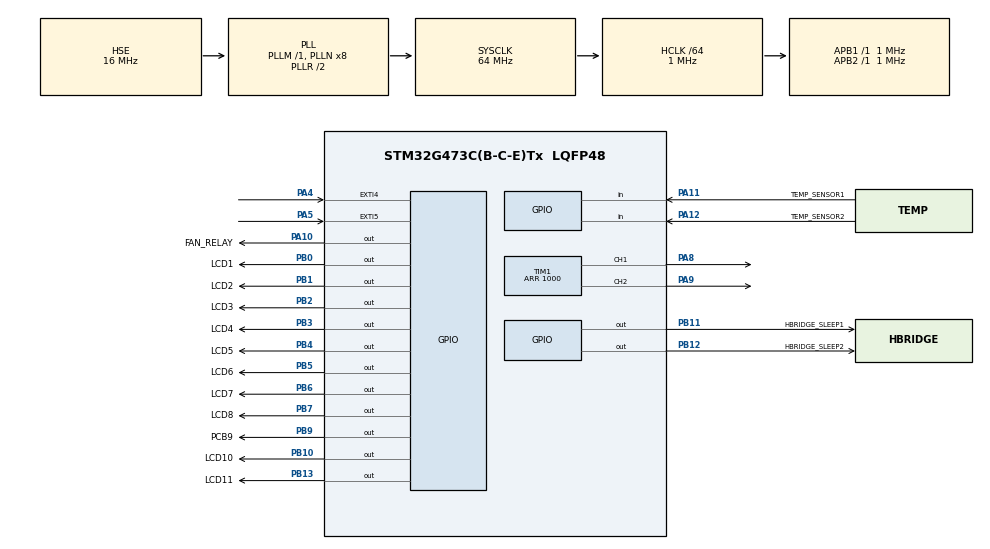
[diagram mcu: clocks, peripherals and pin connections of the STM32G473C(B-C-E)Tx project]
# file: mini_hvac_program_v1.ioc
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Mcu.Family=STM32G4
Mcu.Name=STM32G473C(B-C-E)Tx
Mcu.Package=LQFP48
NVIC.EXTI4_IRQn=true\:0\:0\:false\:false\:true\:true\:true\:true
NVIC.EXTI9_5_IRQn=true\:0\:0\:false\:false\:true\:true\:true\:true
NVIC.PriorityGroup=NVIC_PRIORITYGROUP_4
PA10.GPIO_Label=FAN_RELAY
PA10.Signal=GPIO_Output
PA11.GPIO_Label=TEMP_SENSOR1
PA11.Signal=GPIO_Input
PA12.GPIO_Label=TEMP_SENSOR2
PA12.Signal=GPIO_Input
PA13.Mode=Serial_Wire
PA13.Signal=SYS_JTMS-SWDIO
PA14.Mode=Serial_Wire
PA14.Signal=SYS_JTCK-SWCLK
PA4.GPIO_ModeDefaultEXTI=GPIO_MODE_IT_FALLING
PA4.Signal=GPXTI4
PA5.GPIO_ModeDefaultEXTI=GPIO_MODE_IT_FALLING
PA5.Signal=GPXTI5
PA8.Signal=S_TIM1_CH1
PA9.Signal=S_TIM1_CH2
PB0.GPIO_Label=LCD1
PB0.Signal=GPIO_Output
PB1.GPIO_Label=LCD2
PB1.Signal=GPIO_Output
PB10.GPIO_Label=LCD10
PB10.Signal=GPIO_Output
PB11.GPIO_Label=HBRIDGE_SLEEP1
PB11.Signal=GPIO_Output
PB12.GPIO_Label=HBRIDGE_SLEEP2
PB12.Signal=GPIO_Output
PB13.GPIO_Label=LCD11
PB13.Signal=GPIO_Output
PB2.GPIO_Label=LCD3
PB2.Signal=GPIO_Output
PB3.GPIO_Label=LCD4
PB3.Signal=GPIO_Output
PB4.GPIO_Label=LCD5
PB4.Signal=GPIO_Output
PB5.GPIO_Label=LCD6
PB5.Signal=GPIO_Output
PB6.GPIO_Label=LCD7
PB6.Signal=GPIO_Output
PB7.GPIO_Label=LCD8
PB7.Signal=GPIO_Output
PB9.GPIO_Label=PCB9
PB9.Signal=GPIO_Output
PF0-OSC_IN.Mode=HSE-External-Oscillator
PF0-OSC_IN.Signal=RCC_OSC_IN
PF1-OSC_OUT.Mode=HSE-External-Oscillator
PF1-OSC_OUT.Signal=RCC_OSC_OUT
ProjectManager.HeapSize=0x200
ProjectManager.StackSize=0x400
ProjectManager.TargetToolchain=STM32CubeIDE
RCC.ADC12Freq_Value=64000000
RCC.ADC345Freq_Value=64000000
RCC.AHBCLKDivider=RCC_SYSCLK_DIV64
RCC.AHBFreq_Value=1000000
RCC.APB1Freq_Value=1000000
RCC.APB1TimFreq_Value=1000000
RCC.APB2Freq_Value=1000000
RCC.APB2TimFreq_Value=1000000
RCC.CortexFreq_Value=1000000
RCC.EXTERNAL_CLOCK_VALUE=12288000
RCC.HCLKFreq_Value=1000000
RCC.HSE_VALUE=16000000
RCC.HSI48_VALUE=48000000
RCC.HSI_VALUE=16000000
RCC.LSE_VALUE=32768
RCC.PLLSourceVirtual=RCC_PLLSOURCE_HSE
RCC.SYSCLKFreq_VALUE=64000000
RCC.SYSCLKSource=RCC_SYSCLKSOURCE_PLLCLK
RCC.USBFreq_Value=64000000
RCC.VCOOutputFreq_Value=128000000
SH.S_TIM1_CH1.0=TIM1_CH1,PWM Generation1 CH1
SH.S_TIM1_CH2.0=TIM1_CH2,PWM Generation2 CH2
TIM1.Channel-PWM\ Generation1\ CH1=TIM_CHANNEL_1
TIM1.Channel-PWM\ Generation2\ CH2=TIM_CHANNEL_2
TIM1.PeriodNoDither=1000
VP_SYS_VS_DBSignals.Mode=DisableDeadBatterySignals
VP_TIM1_VS_ClockSourceINT.Mode=Internal
board=custom

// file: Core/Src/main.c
/* USER CODE BEGIN Header */
/**
  ******************************************************************************
  * @file           : main.c
  * @brief          : Main program body
  ******************************************************************************
  * @attention
  *
  * Copyright (c) 2024 STMicroelectronics.
  * All rights reserved.
  *
  * This software is licensed under terms that can be found in the LICENSE file
  * in the root directory of this software component.
  * If no LICENSE file comes with this software, it is provided AS-IS.
  *
  ******************************************************************************
  */
/* USER CODE END Header */
#include "main.h"

TIM_HandleTypeDef htim1;

void SystemClock_Config(void);
static void MX_GPIO_Init(void);
static void MX_TIM1_Init(void);
/* USER CODE BEGIN PFP */

void One_Wire_Init(void);
void DS18B20_Read_Temperature(int* temp);
void hbridge_colder(void);
void hbridge_hotter(void);
void display_on_LCD(int desired, int real);
/* USER CODE END PFP */

int main(void)
{

  /* USER CODE BEGIN 1 */
	int desired_temp = 20;
	int real_temp = 0;
  /* USER CODE END 1 */

  /* MCU Configuration--------------------------------------------------------*/

  /* Reset of all peripherals, Initializes the Flash interface and the Systick. */
  HAL_Init();

  /* Configure the system clock */
  SystemClock_Config();

  /* Initialize all configured peripherals */
  MX_GPIO_Init();
  MX_TIM1_Init();
  /* USER CODE BEGIN 2 */

  One_Wire_Init();
  /* USER CODE END 2 */

  /* Infinite loop */
  /* USER CODE BEGIN WHILE */
  while (1)
  {
      DS18B20_Read_Temperature(&real_temp);

      if (HAL_GPIO_ReadPin(BUTTON_GPIO_PORT, BUTTON1_PIN) == GPIO_PIN_RESET) {
          desired_temp++;
          HAL_Delay(200); // Debounce delay
      }

      if (abs(real_temp - desired_temp) > 3) {
          HAL_GPIO_WritePin(FAN_RELAY_GPIO_PORT, FAN_RELAY_PIN, GPIO_PIN_SET);
          if (real_temp > desired_temp) {
              hbridge_colder();
          } else {
              hbridge_hotter();
          }
      } else {
          HAL_GPIO_WritePin(FAN_RELAY_GPIO_PORT, FAN_RELAY_PIN, GPIO_PIN_RESET);
      }

      display_on_LCD(desired_temp, real_temp);
      HAL_Delay(1000); // Delay to prevent rapid signal sending
  }

    /* USER CODE END WHILE */

  }
}

void SystemClock_Config(void)
{
  RCC_OscInitTypeDef RCC_OscInitStruct = {0};
  RCC_ClkInitTypeDef RCC_ClkInitStruct = {0};

  /** Configure the main internal regulator output voltage
  */
  HAL_PWREx_ControlVoltageScaling(PWR_REGULATOR_VOLTAGE_SCALE1);

  /** Initializes the RCC Oscillators according to the specified parameters
  * in the RCC_OscInitTypeDef structure.
  */
  RCC_OscInitStruct.OscillatorType = RCC_OSCILLATORTYPE_HSE;
  RCC_OscInitStruct.HSEState = RCC_HSE_ON;
  RCC_OscInitStruct.PLL.PLLState = RCC_PLL_ON;
  RCC_OscInitStruct.PLL.PLLSource = RCC_PLLSOURCE_HSE;
  RCC_OscInitStruct.PLL.PLLM = RCC_PLLM_DIV1;
  RCC_OscInitStruct.PLL.PLLN = 8;
  RCC_OscInitStruct.PLL.PLLP = RCC_PLLP_DIV2;
  RCC_OscInitStruct.PLL.PLLQ = RCC_PLLQ_DIV2;
  RCC_OscInitStruct.PLL.PLLR = RCC_PLLR_DIV2;
  if (HAL_RCC_OscConfig(&RCC_OscInitStruct) != HAL_OK)
  {
    Error_Handler();
  }

  /** Initializes the CPU, AHB and APB buses clocks
  */
  RCC_ClkInitStruct.ClockType = RCC_CLOCKTYPE_HCLK|RCC_CLOCKTYPE_SYSCLK
                              |RCC_CLOCKTYPE_PCLK1|RCC_CLOCKTYPE_PCLK2;
  RCC_ClkInitStruct.SYSCLKSource = RCC_SYSCLKSOURCE_PLLCLK;
  RCC_ClkInitStruct.AHBCLKDivider = RCC_SYSCLK_DIV64;
  RCC_ClkInitStruct.APB1CLKDivider = RCC_HCLK_DIV1;
  RCC_ClkInitStruct.APB2CLKDivider = RCC_HCLK_DIV1;

  if (HAL_RCC_ClockConfig(&RCC_ClkInitStruct, FLASH_LATENCY_0) != HAL_OK)
  {
    Error_Handler();
  }
}

static void MX_TIM1_Init(void)
{

  TIM_ClockConfigTypeDef sClockSourceConfig = {0};
  TIM_MasterConfigTypeDef sMasterConfig = {0};
  TIM_OC_InitTypeDef sConfigOC = {0};
  TIM_BreakDeadTimeConfigTypeDef sBreakDeadTimeConfig = {0};

  htim1.Instance = TIM1;
  htim1.Init.Prescaler = 0;
  htim1.Init.CounterMode = TIM_COUNTERMODE_UP;
  htim1.Init.Period = 1000;
  htim1.Init.ClockDivision = TIM_CLOCKDIVISION_DIV1;
  htim1.Init.RepetitionCounter = 0;
  htim1.Init.AutoReloadPreload = TIM_AUTORELOAD_PRELOAD_DISABLE;
  if (HAL_TIM_Base_Init(&htim1) != HAL_OK)
  {
    Error_Handler();
  }
  sClockSourceConfig.ClockSource = TIM_CLOCKSOURCE_INTERNAL;
  if (HAL_TIM_ConfigClockSource(&htim1, &sClockSourceConfig) != HAL_OK)
  {
    Error_Handler();
  }
  if (HAL_TIM_PWM_Init(&htim1) != HAL_OK)
  {
    Error_Handler();
  }
  sMasterConfig.MasterOutputTrigger = TIM_TRGO_RESET;
  sMasterConfig.MasterOutputTrigger2 = TIM_TRGO2_RESET;
  sMasterConfig.MasterSlaveMode = TIM_MASTERSLAVEMODE_DISABLE;
  if (HAL_TIMEx_MasterConfigSynchronization(&htim1, &sMasterConfig) != HAL_OK)
  {
    Error_Handler();
  }
  sConfigOC.OCMode = TIM_OCMODE_PWM1;
  sConfigOC.Pulse = 0;
  sConfigOC.OCPolarity = TIM_OCPOLARITY_HIGH;
  sConfigOC.OCNPolarity = TIM_OCNPOLARITY_HIGH;
  sConfigOC.OCFastMode = TIM_OCFAST_DISABLE;
  sConfigOC.OCIdleState = TIM_OCIDLESTATE_RESET;
  sConfigOC.OCNIdleState = TIM_OCNIDLESTATE_RESET;
  if (HAL_TIM_PWM_ConfigChannel(&htim1, &sConfigOC, TIM_CHANNEL_1) != HAL_OK)
  {
    Error_Handler();
  }
  if (HAL_TIM_PWM_ConfigChannel(&htim1, &sConfigOC, TIM_CHANNEL_2) != HAL_OK)
  {
    Error_Handler();
  }
  sBreakDeadTimeConfig.OffStateRunMode = TIM_OSSR_DISABLE;
  sBreakDeadTimeConfig.OffStateIDLEMode = TIM_OSSI_DISABLE;
  sBreakDeadTimeConfig.LockLevel = TIM_LOCKLEVEL_OFF;
  sBreakDeadTimeConfig.DeadTime = 0;
  sBreakDeadTimeConfig.BreakState = TIM_BREAK_DISABLE;
  sBreakDeadTimeConfig.BreakPolarity = TIM_BREAKPOLARITY_HIGH;
  sBreakDeadTimeConfig.BreakFilter = 0;
  sBreakDeadTimeConfig.BreakAFMode = TIM_BREAK_AFMODE_INPUT;
  sBreakDeadTimeConfig.Break2State = TIM_BREAK2_DISABLE;
  sBreakDeadTimeConfig.Break2Polarity = TIM_BREAK2POLARITY_HIGH;
  sBreakDeadTimeConfig.Break2Filter = 0;
  sBreakDeadTimeConfig.Break2AFMode = TIM_BREAK_AFMODE_INPUT;
  sBreakDeadTimeConfig.AutomaticOutput = TIM_AUTOMATICOUTPUT_DISABLE;
  if (HAL_TIMEx_ConfigBreakDeadTime(&htim1, &sBreakDeadTimeConfig) != HAL_OK)
  {
    Error_Handler();
  }
  HAL_TIM_MspPostInit(&htim1);

}

static void MX_GPIO_Init(void)
{
  GPIO_InitTypeDef GPIO_InitStruct = {0};

  /* GPIO Ports Clock Enable */
  __HAL_RCC_GPIOF_CLK_ENABLE();
  __HAL_RCC_GPIOA_CLK_ENABLE();
  __HAL_RCC_GPIOB_CLK_ENABLE();

  /*Configure GPIO pin Output Level */
  HAL_GPIO_WritePin(GPIOB, LCD1_Pin|LCD2_Pin|LCD3_Pin|LCD10_Pin
                          |HBRIDGE_SLEEP1_Pin|HBRIDGE_SLEEP2_Pin|LCD11_Pin|LCD4_Pin
                          |LCD5_Pin|LCD6_Pin|LCD7_Pin|LCD8_Pin
                          |PCB9_Pin, GPIO_PIN_RESET);

  /*Configure GPIO pin Output Level */
  HAL_GPIO_WritePin(FAN_RELAY_GPIO_Port, FAN_RELAY_Pin, GPIO_PIN_RESET);

  /*Configure GPIO pins : PA4 PA5 */
  GPIO_InitStruct.Pin = GPIO_PIN_4|GPIO_PIN_5;
  GPIO_InitStruct.Mode = GPIO_MODE_IT_FALLING;
  GPIO_InitStruct.Pull = GPIO_NOPULL;
  HAL_GPIO_Init(GPIOA, &GPIO_InitStruct);

  /*Configure GPIO pins : LCD1_Pin LCD2_Pin LCD3_Pin LCD10_Pin
                           HBRIDGE_SLEEP1_Pin HBRIDGE_SLEEP2_Pin LCD11_Pin LCD4_Pin
                           LCD5_Pin LCD6_Pin LCD7_Pin LCD8_Pin
                           PCB9_Pin */
  GPIO_InitStruct.Pin = LCD1_Pin|LCD2_Pin|LCD3_Pin|LCD10_Pin
                          |HBRIDGE_SLEEP1_Pin|HBRIDGE_SLEEP2_Pin|LCD11_Pin|LCD4_Pin
                          |LCD5_Pin|LCD6_Pin|LCD7_Pin|LCD8_Pin
                          |PCB9_Pin;
  GPIO_InitStruct.Mode = GPIO_MODE_OUTPUT_PP;
  GPIO_InitStruct.Pull = GPIO_NOPULL;
  GPIO_InitStruct.Speed = GPIO_SPEED_FREQ_LOW;
  HAL_GPIO_Init(GPIOB, &GPIO_InitStruct);

  /*Configure GPIO pin : FAN_RELAY_Pin */
  GPIO_InitStruct.Pin = FAN_RELAY_Pin;
  GPIO_InitStruct.Mode = GPIO_MODE_OUTPUT_PP;
  GPIO_InitStruct.Pull = GPIO_NOPULL;
  GPIO_InitStruct.Speed = GPIO_SPEED_FREQ_LOW;
  HAL_GPIO_Init(FAN_RELAY_GPIO_Port, &GPIO_InitStruct);

  /*Configure GPIO pins : TEMP_SENSOR1_Pin TEMP_SENSOR2_Pin */
  GPIO_InitStruct.Pin = TEMP_SENSOR1_Pin|TEMP_SENSOR2_Pin;
  GPIO_InitStruct.Mode = GPIO_MODE_INPUT;
  GPIO_InitStruct.Pull = GPIO_NOPULL;
  HAL_GPIO_Init(GPIOA, &GPIO_InitStruct);

  /* EXTI interrupt init*/
  HAL_NVIC_SetPriority(EXTI4_IRQn, 0, 0);
  HAL_NVIC_EnableIRQ(EXTI4_IRQn);

  HAL_NVIC_SetPriority(EXTI9_5_IRQn, 0, 0);
  HAL_NVIC_EnableIRQ(EXTI9_5_IRQn);

}

/* USER CODE BEGIN 4 */
void DS18B20_Read_Temperature(int* temp) {
    // Read temperature from DS18B20 sensor and store in temp
    // This function needs to be implemented according to the DS18B20 protocol
}

void display_on_LCD(int desired, int real) {
    // Display desired_temp and real_temp on the LCD
    // This function needs to be implemented according to your LCD setup
}

/* USER CODE END 4 */

void Error_Handler(void)
{
  __disable_irq();
  while (1)
  {
  }
}
